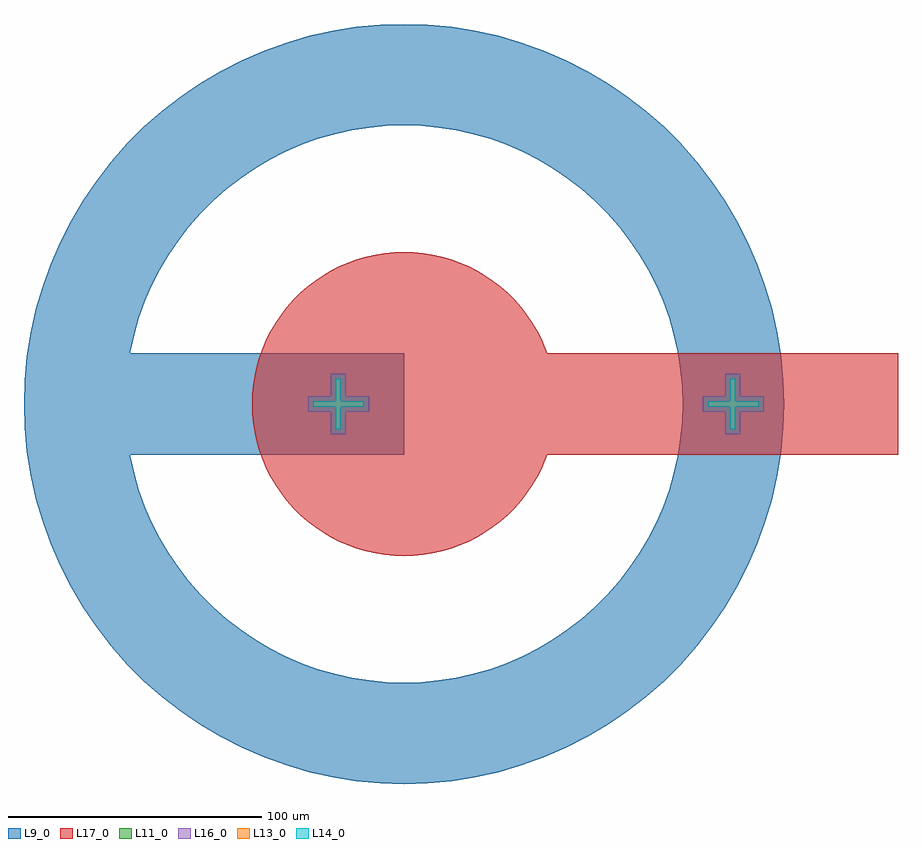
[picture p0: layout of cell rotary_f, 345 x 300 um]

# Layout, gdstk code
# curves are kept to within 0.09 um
import gdstk
lib = gdstk.Library(unit=1e-6, precision=1e-09)
def R(c, l, rs):  # rectangles x0, y0, x1, y1
    for r in rs: c.add(gdstk.rectangle(r[:2], r[2:], *l))
def P(c, l, *ps):  # polygons
    for p in ps: c.add(gdstk.Polygon(p, *l))
L9_0 = (9, 0)
L11_0 = (11, 0)
L13_0 = (13, 0)
L14_0 = (14, 0)
L16_0 = (16, 0)
L17_0 = (17, 0)

contact_cross = lib.new_cell('contact_cross')
R(contact_cross, L9_0, [(0,0,30,30)])
R(contact_cross, L11_0, [(11.8,3,17.8,27), (3,12,27,18)])
R(contact_cross, L13_0, [(13.8,5,15.8,25), (5,14,25,16)])
R(contact_cross, L14_0, [(13.8,5,15.8,25), (5,14,25,16)])
R(contact_cross, L16_0, [(11.8,3,17.8,27), (3,12,27,18)])
R(contact_cross, L17_0, [(0,0,30,30)])

rotary_f = lib.new_cell('rotary_f')
P(rotary_f, L9_0, [(149.9,0.5),(149.604,9.919),(148.717,19.3),(147.243,28.607),(145.187,37.803),(142.558,46.853),(139.366,55.719),(135.624,64.367),(131.346,72.763),(126.549,80.874),(121.253,88.668),(115.477,96.114),(109.245,103.182),(102.582,109.845),(95.514,116.077),(88.068,121.853),(80.274,127.149),(72.163,131.946),(63.767,136.224),(55.119,139.966),(46.253,143.158),(37.203,145.787),(28.007,147.843),(18.7,149.317),(9.319,150.204),(-0.1,150.5),(-9.519,150.204),(-18.9,149.317),(-28.207,147.843),(-37.403,145.787),(-46.453,143.158),(-55.319,139.966),(-63.967,136.224),(-72.363,131.946),(-80.474,127.149),(-88.268,121.853),(-95.714,116.077),(-102.782,109.845),(-109.445,103.182),(-115.677,96.114),(-121.453,88.668),(-126.749,80.874),(-131.546,72.763),(-135.824,64.367),(-139.566,55.719),(-142.758,46.853),(-145.387,37.803),(-147.443,28.607),(-148.917,19.3),(-149.804,9.919),(-150.1,0.5),(-0.1,0.5),(-0.1,20.5),(-108.249,20.5),(-106.644,27.856),(-104.716,34.492),(-102.375,40.994),(-99.631,47.336),(-96.494,53.493),(-92.976,59.441),(-89.092,65.156),(-84.856,70.617),(-80.287,75.8),(-75.4,80.687),(-70.217,85.256),(-64.756,89.492),(-59.041,93.376),(-53.093,96.894),(-46.936,100.031),(-40.594,102.775),(-34.092,105.116),(-27.456,107.044),(-20.712,108.552),(-13.887,109.633),(-7.007,110.283),(-0.1,110.5),(6.807,110.283),(13.687,109.633),(20.512,108.552),(27.256,107.044),(33.892,105.116),(40.394,102.775),(46.736,100.031),(52.893,96.894),(58.841,93.376),(64.556,89.492),(70.017,85.256),(75.2,80.687),(80.087,75.8),(84.656,70.617),(88.892,65.156),(92.776,59.441),(96.294,53.493),(99.431,47.336),(102.175,40.994),(104.516,34.492),(106.444,27.856),(107.952,21.112),(109.033,14.287),(109.683,7.407),(109.9,0.5)],
  [(149.9,0.5),(109.9,0.5),(109.683,-6.407),(109.033,-13.287),(107.952,-20.112),(106.444,-26.856),(104.516,-33.492),(102.175,-39.994),(99.431,-46.336),(96.294,-52.493),(92.776,-58.441),(88.892,-64.156),(84.656,-69.617),(80.087,-74.8),(75.2,-79.687),(70.017,-84.256),(64.556,-88.492),(58.841,-92.376),(52.893,-95.894),(46.736,-99.031),(40.394,-101.775),(33.892,-104.116),(27.256,-106.044),(20.512,-107.552),(13.687,-108.633),(6.807,-109.283),(-0.1,-109.5),(-7.007,-109.283),(-13.887,-108.633),(-20.712,-107.552),(-27.456,-106.044),(-34.092,-104.116),(-40.594,-101.775),(-46.936,-99.031),(-53.093,-95.894),(-59.041,-92.376),(-64.756,-88.492),(-70.217,-84.256),(-75.4,-79.687),(-80.287,-74.8),(-84.856,-69.617),(-89.092,-64.156),(-92.976,-58.441),(-96.494,-52.493),(-99.631,-46.336),(-102.375,-39.994),(-104.716,-33.492),(-106.644,-26.856),(-108.249,-19.5),(-0.1,-19.5),(-0.1,0.5),(-150.1,0.5),(-149.804,-8.919),(-148.917,-18.3),(-147.443,-27.607),(-145.387,-36.803),(-142.758,-45.853),(-139.566,-54.719),(-135.824,-63.367),(-131.546,-71.763),(-126.749,-79.874),(-121.453,-87.668),(-115.677,-95.114),(-109.445,-102.182),(-102.782,-108.845),(-95.714,-115.077),(-88.268,-120.853),(-80.474,-126.149),(-72.363,-130.946),(-63.967,-135.224),(-55.319,-138.966),(-46.453,-142.158),(-37.403,-144.787),(-28.207,-146.843),(-18.9,-148.317),(-9.519,-149.204),(-0.1,-149.5),(9.319,-149.204),(18.7,-148.317),(28.007,-146.843),(37.203,-144.787),(46.253,-142.158),(55.119,-138.966),(63.767,-135.224),(72.163,-130.946),(80.274,-126.149),(88.068,-120.853),(95.514,-115.077),(102.582,-108.845),(109.245,-102.182),(115.477,-95.114),(121.253,-87.668),(126.549,-79.874),(131.346,-71.763),(135.624,-63.367),(139.366,-54.719),(142.558,-45.853),(145.187,-36.803),(147.243,-27.607),(148.717,-18.3),(149.604,-8.919)])
P(rotary_f, L17_0, [(194.9,20.5),(56.438,20.5),(54.19,26.047),(52.478,29.405),(50.56,32.65),(48.441,35.767),(46.131,38.745),(43.638,41.573),(40.973,44.238),(38.145,46.731),(35.167,49.041),(32.05,51.16),(28.805,53.078),(25.447,54.79),(21.987,56.287),(18.441,57.563),(14.821,58.615),(11.143,59.437),(7.42,60.027),(3.667,60.382),(-0.1,60.5),(-3.867,60.382),(-7.62,60.027),(-11.343,59.437),(-15.021,58.615),(-18.641,57.563),(-22.187,56.287),(-25.647,54.79),(-29.005,53.078),(-32.25,51.16),(-35.367,49.041),(-38.345,46.731),(-41.173,44.238),(-43.838,41.573),(-46.331,38.745),(-48.641,35.767),(-50.76,32.65),(-52.678,29.405),(-54.39,26.047),(-55.887,22.587),(-57.163,19.041),(-58.215,15.421),(-59.037,11.743),(-59.627,8.02),(-59.982,4.267),(-60.1,0.5),(-59.982,-3.267),(-59.627,-7.02),(-59.037,-10.743),(-58.215,-14.421),(-57.163,-18.041),(-55.887,-21.587),(-54.39,-25.047),(-52.678,-28.405),(-50.76,-31.65),(-48.641,-34.767),(-46.331,-37.745),(-43.838,-40.573),(-41.173,-43.238),(-38.345,-45.731),(-35.367,-48.041),(-32.25,-50.16),(-29.005,-52.078),(-25.647,-53.79),(-22.187,-55.287),(-18.641,-56.563),(-15.021,-57.615),(-11.343,-58.437),(-7.62,-59.027),(-3.867,-59.382),(-0.1,-59.5),(3.667,-59.382),(7.42,-59.027),(11.143,-58.437),(14.821,-57.615),(18.441,-56.563),(21.987,-55.287),(25.447,-53.79),(28.805,-52.078),(32.05,-50.16),(35.167,-48.041),(38.145,-45.731),(40.973,-43.238),(43.638,-40.573),(46.131,-37.745),(48.441,-34.767),(50.56,-31.65),(52.478,-28.405),(54.19,-25.047),(56.438,-19.5),(194.9,-19.5)])
rotary_f.add(gdstk.Reference(contact_cross, (-40.9,-14.5)))
rotary_f.add(gdstk.Reference(contact_cross, (114.9,-14.5)))

lib.write_gds('rotary_f.gds')
